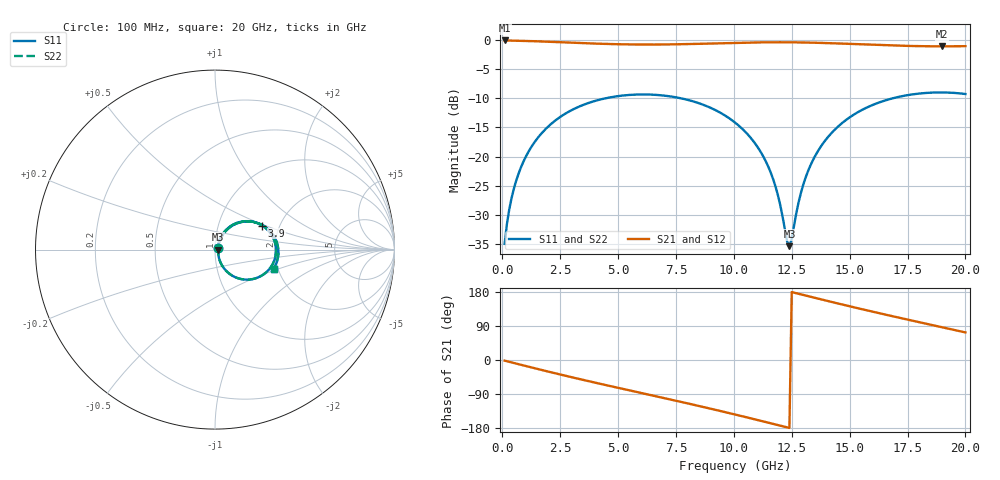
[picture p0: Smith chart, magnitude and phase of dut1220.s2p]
! Touchstone file exported from HFSS 2026.1.0
!  File:  C:/ffzhzh/LocalFiles/Ansys_Project_Files/temp_train_TSV_RDL_1220_1783320916_30076.aedt
!  Generated:  03:06:50 PM Jul  6, 2026
!  Design:  TSV_RDL
!  Project:  temp_train_TSV_RDL_1220_1783320916_30076
! Variables:
!  h_bsmrdl = 5.05um
!  h_ox = 20um
!  h_rdl = 5um
!  h_sub = 70.13um
!  h_tmrdl = 4.45um
!  h_tsv = 70.13um
!  h_via = 3um
!  l_bsmrdl = 990.39um
!  l_sub = 4928.2um
!  l_tmrdl = 349.11um
!  m_sub = 200um
!  pitch = 44.11um
!  r_tsv = 14.43um
!  s_tmrdl = 10um
!  w_bsmrdl = 24.57um
!  w_sub = 500um
!  w_tmrdl = 28.96um
!  x_tsv_center1 = 363.59um
!  x_tsv_center2 = 1378.55um
!  x_tsv_center3 = 1756.62um
!  x_tsv_center4 = 2771.58um
!  x_tsv_center5 = 3149.65um
!  x_tsv_center6 = 4164.61um
# GHz S MA R 50.000000
! Terminal data exported
! Port[1] = TM_RDL1_1_T1
! Port[2] = TM_RDL5_1_T1
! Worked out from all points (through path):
!   200 points, 100 MHz to 20 GHz, reference 50 ohm
!   highest |S21| = -0.12 dB at 100 MHz (marker M1); lowest = -1.1 dB at 19 GHz (marker M2)
!   group delay of S21, straight-line fit = 39.9 ps
!   lowest |S11| = -35.4 dB at 12.4 GHz (marker M3), VSWR 1.03, Z = 51.7 + j0.0508 ohm
!   |S11| at or under -10 dB: start of sweep to 4.491 GHz; 7.684 GHz to 16.89 GHz (9.204 GHz wide, 74.9 % of centre)
!   |S22| runs from -35.4 to -9.0 dB; largest |S21 - S12| = 1.9e-14
!   S11 on the Smith chart (normalised r, x): 100 MHz: 1.03, +0.02; 3.9 GHz: 1.63, +0.48; 20 GHz: 1.89, -0.46
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0.1  0.01786 38.3  0.9862 -1.7  0.9862 -1.7  0.01786 38.3
! Gamma 0 0 0 0
! Port Impedance 50 0 50 0
0.3  0.03523 58.3  0.9837 -4.8  0.9837 -4.8  0.03523 58.3
0.5  0.05304 63.4  0.9818 -7.9  0.9818 -7.9  0.05304 63.4
1.1  0.1071 62.7  0.9755 -17.2  0.9755 -17.2  0.1071 62.7
2.1  0.1896 51.2  0.9601 -32.3  0.9601 -32.3  0.1896 51.2
3.5  0.277 32.4  0.9351 -52.7  0.9351 -52.7  0.277 32.4
3.9  0.2951 27.1  0.9288 -58.3  0.9288 -58.3  0.2951 27.1
5.3  0.3344 8.7  0.9132 -77.5  0.9132 -77.5  0.3343 8.7
6.8  0.3353 -10.8  0.9106 -97.9  0.9106 -97.9  0.3353 -10.7
8.5  0.2857 -32.9  0.9231 -121.4  0.9231 -121.4  0.2857 -32.8
10.1  0.192 -53.5  0.941 -144.5  0.941 -144.5  0.192 -53.5
10.9  0.1308 -62.7  0.9481 -156.5  0.9481 -156.5  0.1308 -62.7
11.5  0.08077 -66.8  0.9511 -165.6  0.9511 -165.6  0.08075 -66.8
11.9  0.04691 -63.6  0.9518 -171.6  0.9518 -171.6  0.04689 -63.6
12.3  0.01875 -25.5  0.9514 -177.7  0.9514 -177.7  0.01872 -25.5
12.4  0.01707 1.6  0.9511 -179.3  0.9511 -179.3  0.01704 1.7
12.9  0.04912 60.1  0.9484 173.1  0.9484 173.1  0.04912 60.1
13.4  0.0917 62.3  0.944 165.5  0.944 165.5  0.0917 62.4
14.7  0.1953 49.3  0.9263 146.1  0.9263 146.1  0.1953 49.3
16.7  0.309 23.7  0.8949 117.6  0.8949 117.6  0.309 23.8
19  0.3538 -5.5  0.8783 86.3  0.8783 86.3  0.3537 -5.4
20  0.3431 -18.1  0.8813 72.8  0.8813 72.8  0.343 -18.0
